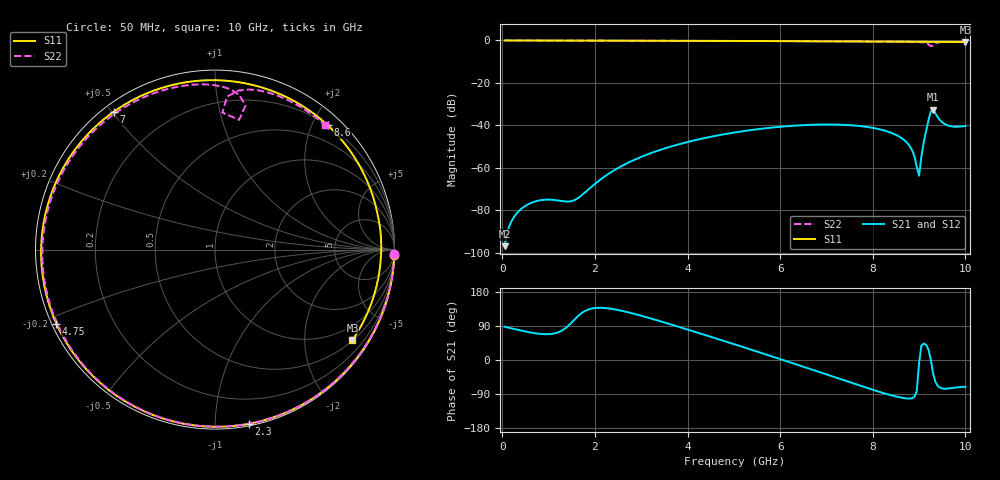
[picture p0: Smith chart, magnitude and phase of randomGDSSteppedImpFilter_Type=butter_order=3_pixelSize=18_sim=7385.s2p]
! freq	dB(S11)	phase(S11)	dB(S12)	phase(S12)
!  dB(S21)	phase(S21)	dB(S22)	phase(S22)
!S-par simulation data
#  GHz  S  DB  R 50
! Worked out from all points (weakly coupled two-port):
!   200 points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, 50 MHz to 10 GHz, reference 50 ohm
!   highest |S21| = -32.56 dB at 9.3 GHz (marker M1); lowest = -96.8 dB at 50 MHz (marker M2)
!   lowest |S11| = -0.8 dB at 10 GHz (marker M3), VSWR 23.04, Z = 25.8 - j163 ohm
!   |S11| at or under -10 dB: nowhere
!   |S22| runs from -2.7 to 0.0 dB; largest |S21 - S12| = 0
!   S11 on the Smith chart (normalised r, x): 50 MHz: 1, -63; 2.3 GHz: 0.01, -1.21; 4.75 GHz: 0.01, -0.22; 7 GHz: 0.03, +0.51; 8.6 GHz: 0.20, +2.24; 10 GHz: 0.52, -3.26
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0.05  -0.01 -1.8  -96.81 87.8  -96.81 87.8  -0.00 -1.5
0.85  -0.04 -30.2  -75.10 68.6  -75.10 68.6  -0.03 -24.5
1.5  -0.07 -52.6  -75.58 99.4  -75.58 99.4  -0.05 -42.9
1.75  -0.08 -61.0  -72.21 126.8  -72.21 126.8  -0.06 -49.8
2.3  -0.10 -79.1  -62.68 136.0  -62.68 136.0  -0.08 -64.9
3.4  -0.14 -113.7  -51.56 102.7  -51.56 102.7  -0.12 -94.2
4.75  -0.22 -155.0  -44.30 51.6  -44.30 51.6  -0.19 -129.3
5.05  -0.24 -164.4  -43.19 40.0  -43.19 40.0  -0.21 -137.2
5.9  -0.31 167.7  -40.83 6.5  -40.83 6.5  -0.27 -160.2
6.7  -0.38 138.3  -39.66 -25.9  -39.66 -25.9  -0.35 176.7
7  -0.42 126.2  -39.54 -38.2  -39.54 -38.2  -0.38 167.4
7.7  -0.49 94.9  -40.22 -66.8  -40.22 -66.8  -0.46 143.9
8.35  -0.56 61.6  -43.08 -91.5  -43.08 -91.5  -0.55 119.3
8.6  -0.58 47.8  -45.63 -98.9  -45.63 -98.9  -0.59 108.9
8.85  -0.61 33.6  -51.68 -100.9  -51.68 -100.9  -0.66 97.7
9  -0.63 24.9  -63.62 -7.5  -63.62 -7.5  -0.76 90.2
9.05  -0.64 22.0  -54.60 37.9  -54.60 37.9  -0.83 87.4
9.15  -0.65 16.2  -42.78 40.0  -42.78 40.0  -1.18 81.1
9.25  -0.66 10.4  -33.62 2.7  -33.62 2.7  -2.67 79.5
9.3  -0.65 7.5  -32.56 -33.3  -32.56 -33.3  -2.33 86.9
9.55  -0.68 -7.3  -39.27 -75.7  -39.27 -75.7  -0.69 71.8
10  -0.75 -33.4  -40.23 -70.8  -40.23 -70.8  -0.67 48.7
